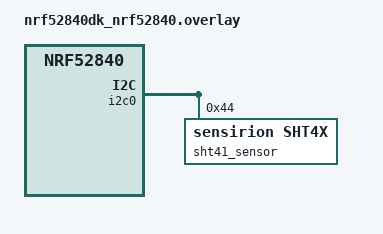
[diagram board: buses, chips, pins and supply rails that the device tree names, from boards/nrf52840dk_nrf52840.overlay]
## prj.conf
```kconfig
CONFIG_BT=y
CONFIG_BT_HCI=y
CONFIG_BT_CTLR=y
CONFIG_BT_PERIPHERAL=y
CONFIG_BT_SMP=y
CONFIG_BT_FIXED_PASSKEY=y
CONFIG_BT_DEVICE_NAME="Sensor Server"

# Enable power management
CONFIG_PM=y
CONFIG_PM_DEVICE=y

# Sensor
CONFIG_SENSOR=y
CONFIG_I2C=y
CONFIG_SHT4X=y

CONFIG_EVENTS=y

CONFIG_LOG=y
CONFIG_LOG_DEFAULT_LEVEL=4
CONFIG_RTT_CONSOLE=y
```

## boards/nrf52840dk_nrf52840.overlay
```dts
&i2c0 {
    status = "okay";
    sht41: sht41@44{
        compatible = "sensirion,sht4x";
        status = "okay";
        reg = < 0x44 >;
        repeatability = < 2 >;
        label = "sht41_sensor"; // For compatibility with previous ncs versions
    };
};
```

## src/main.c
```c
/* main.c - Application main entry point */

/*
 * Copyright (c) 2015-2016 Intel Corporation
 *
 * SPDX-License-Identifier: Apache-2.0
 */

#include <zephyr/kernel.h>
#include <zephyr/types.h>
#include <stddef.h>
#include <string.h>
#include <errno.h>

#include <zephyr/bluetooth/bluetooth.h>
#include <zephyr/bluetooth/conn.h>
#include <zephyr/bluetooth/uuid.h>
#include <zephyr/bluetooth/gatt.h>
#include <zephyr/device.h>
#include <zephyr/drivers/sensor.h>
#include <zephyr/logging/log.h>

LOG_MODULE_REGISTER(MAIN);

#define MAIN_SERVICE_UUID					BT_UUID_128_ENCODE(0xedd1a5f3, 0xdbb0, 0x4b29, 0xb449, 0xa4be5161f18e)
#define RX_UUID								BT_UUID_128_ENCODE(0xedd1a5f3, 0xdbb2, 0x4b29, 0xb449, 0xa4be5161f18e)
#define TX_UUID								BT_UUID_128_ENCODE(0xedd1a5f3, 0xdbb3, 0x4b29, 0xb449, 0xa4be5161f18e)

#define MAIN_EVT_TIMER_EXPIRY				0x01
#define MAIN_EVT_BLE_RESP_RECEIVED			0x02
#define MAIN_EVT_BLE_NOTIFICATION_ENABLED	0x04
#define MAIN_EVT_BLE_CONNECTED				0x08
#define MAIN_EVT_BLE_DISCONNECTED			0x10

#define NOTIFY_STATUS_OK					0x00
#define NOTIFY_STATUS_WAIT					0x01
#define NOTIFY_STATUS_ERROR					0xff

#define TIMER_INTERVAL_MINUTES				1

#define BLE_PASSKEY							123456

#define SHT41_NODE							DT_NODELABEL(sht41)

struct sht41_data{
	double temp;
	double rh;
};

static ssize_t rx_chr_written(struct bt_conn *conn, const struct bt_gatt_attr *attr, const void *buf, uint16_t len, uint16_t offset, uint8_t flags);
static ssize_t tx_chr_read_cb(struct bt_conn *conn, const struct bt_gatt_attr *attr, void *buf, uint16_t len, uint16_t offset);
static void tx_chr_ccc_changed(const struct bt_gatt_attr *attr, uint16_t value);

static void connected_cb(struct bt_conn *conn, uint8_t err);
static void disconnected_cb(struct bt_conn *conn, uint8_t reason);
static void security_changed_cb(struct bt_conn *conn, bt_security_t level, enum bt_security_err err);

static void pair_cancel(struct bt_conn *conn);
static void pairing_confirm(struct bt_conn *conn);
static void passkey_display(struct bt_conn *conn, unsigned int passkey);
static void passkey_confirm(struct bt_conn *conn, unsigned int passkey);

static void pairing_complete(struct bt_conn *conn, bool bonded);
static void pairing_failed(struct bt_conn *conn, enum bt_security_err reason);
static void bond_deleted(uint8_t id, const bt_addr_le_t *peer);

static void sensor_timer_expiry_handler(struct k_timer *timer);

static void stop_adv();

// Sensor timer definition
K_TIMER_DEFINE(sensor_timer, sensor_timer_expiry_handler, NULL);

// Events
K_EVENT_DEFINE(main_evts);

const struct bt_uuid_128 main_service_uuid = BT_UUID_INIT_128(MAIN_SERVICE_UUID);
const struct bt_uuid_128 tx_uuid = BT_UUID_INIT_128(TX_UUID);
const struct bt_uuid_128 rx_uuid = BT_UUID_INIT_128(RX_UUID);
struct bt_conn *default_conn = NULL;

struct bt_conn_cb conn_callbacks = {
	.connected = connected_cb,
	.disconnected = disconnected_cb,
	.security_changed = security_changed_cb
};
struct bt_conn_auth_cb conn_auth_callbacks = {
	.cancel = pair_cancel,
	.pairing_confirm = pairing_confirm,
	// .passkey_confirm = passkey_confirm,
	.passkey_display = passkey_display,
};
struct bt_conn_auth_info_cb conn_auth_info_callbacks = {
	.pairing_complete = pairing_complete,
	.pairing_failed = pairing_failed,
	.bond_deleted = bond_deleted
};

bool notifications_enabled = false;
const struct device *sht41 = DEVICE_DT_GET(SHT41_NODE);
struct sht41_data sht41_sensor_data;
unsigned int pair_passkey = 0;

static const struct bt_data adv_data [] = {
	BT_DATA_BYTES(BT_DATA_FLAGS, BT_LE_AD_GENERAL | BT_LE_AD_NO_BREDR),
	BT_DATA_BYTES(BT_DATA_UUID128_ALL, MAIN_SERVICE_UUID)
};

BT_GATT_SERVICE_DEFINE(primary_service, 
	BT_GATT_PRIMARY_SERVICE(BT_UUID_DECLARE_128(MAIN_SERVICE_UUID)),
	BT_GATT_CHARACTERISTIC(BT_UUID_DECLARE_128(RX_UUID), BT_GATT_CHRC_WRITE, BT_GATT_PERM_WRITE, NULL, rx_chr_written, NULL),
	BT_GATT_CHARACTERISTIC(BT_UUID_DECLARE_128(TX_UUID), BT_GATT_CHRC_NOTIFY, BT_GATT_PERM_READ, tx_chr_read_cb, NULL, NULL),
	BT_GATT_CCC(tx_chr_ccc_changed, BT_GATT_PERM_READ | BT_GATT_PERM_WRITE),
);

static ssize_t rx_chr_written(struct bt_conn *conn, const struct bt_gatt_attr *attr, const void *buf, uint16_t len, uint16_t offset, uint8_t flags)
{
	LOG_DBG("Data Received");
	const uint8_t *data = (char *) buf;
	if(data[0] == 0x00){
		LOG_INF("Response received");
		k_event_set(&main_evts, MAIN_EVT_BLE_RESP_RECEIVED);
		k_timer_start(&sensor_timer, K_MINUTES(TIMER_INTERVAL_MINUTES), K_MINUTES(TIMER_INTERVAL_MINUTES));
	}
	else if(data[0] == 0x01){
		// retry
		LOG_DBG("Retry");
		k_timer_start(&sensor_timer, K_SECONDS(1), K_MINUTES(TIMER_INTERVAL_MINUTES));
	}
	else{
		LOG_DBG("Unexpected response %d", data[0]);
	}

	return len;
}

static ssize_t tx_chr_read_cb(struct bt_conn *conn, const struct bt_gatt_attr *attr, void *buf, uint16_t len, uint16_t offset)
{
	LOG_DBG("TX read");
	return 0;
}

static void tx_chr_ccc_changed(const struct bt_gatt_attr *attr, uint16_t value)
{
	if(value){
		notifications_enabled = true;
		k_event_set(&main_evts, MAIN_EVT_BLE_NOTIFICATION_ENABLED);
		LOG_INF("TX notifications enabled");
	}
	else{
		notifications_enabled = false;
		LOG_WRN("TX notifications disabled");
	}
}

static void connected_cb(struct bt_conn *conn, uint8_t err)
{
	LOG_INF("Device connected, %d", err);
	default_conn = bt_conn_ref(conn);
	k_event_set(&main_evts, MAIN_EVT_BLE_CONNECTED);
}

static void disconnected_cb(struct bt_conn *conn, uint8_t reason)
{
	LOG_WRN("Device disconnected %d", reason);
	bt_conn_unref(default_conn);
	default_conn = NULL;
	
	if(reason == BT_HCI_ERR_REMOTE_USER_TERM_CONN){
		LOG_DBG("Connection terminated by central");
		stop_adv();
		k_timer_start(&sensor_timer, K_MINUTES(TIMER_INTERVAL_MINUTES), K_NO_WAIT);
	}
	k_event_set(&main_evts, MAIN_EVT_BLE_DISCONNECTED);
}

static void security_changed_cb(struct bt_conn *conn, bt_security_t level, enum bt_security_err err)
{
	if(err){
		LOG_ERR("Updated security error %d", err);
		return;
	}

	LOG_DBG("Security updated to %d", level);
}

static void pair_cancel(struct bt_conn *conn)
{
	// Not used
	LOG_DBG("Cancel pairing");
}

static void pairing_confirm(struct bt_conn *conn)
{
	if(bt_conn_auth_pairing_confirm(conn)){
		LOG_ERR("Confirm pairing error");
		return;
	}

	LOG_DBG("Pairing confirm");
}

static void passkey_display(struct bt_conn *conn, unsigned int passkey)
{
	LOG_DBG("Display passkey %u", passkey);
	pair_passkey = passkey;
}

static void passkey_confirm(struct bt_conn *conn, unsigned int passkey)
{
	int err = 0;
	if(passkey == pair_passkey){
		LOG_DBG("Passkey confirm");
		err = bt_conn_auth_passkey_confirm(conn);
		if(err){
			LOG_ERR("Confirm passkey error %d", err);
		}
	}
	else{
		LOG_ERR("Passkey mismatch %u vs %u", pair_passkey, passkey);
		err = bt_conn_auth_cancel(conn);
		if(err){
			LOG_ERR("Cancel authentication error");
		}
	}
	
}

static void pairing_complete(struct bt_conn *conn, bool bonded)
{
	LOG_INF("Pairing complete");
}

static void pairing_failed(struct bt_conn *conn, enum bt_security_err reason)
{
	LOG_ERR("Pairing fail, reason %d", reason);
}

static void bond_deleted(uint8_t id, const bt_addr_le_t *peer)
{
	LOG_DBG("Bond info deleted!");
}

static void sensor_timer_expiry_handler(struct k_timer *timer)
{
	// set timer expiry event
	LOG_DBG("Timer expiry");
	k_event_set(&main_evts, MAIN_EVT_TIMER_EXPIRY);
}

static int start_adv()
{
	int ret = 0;
	ret = bt_le_adv_start(BT_LE_ADV_CONN_NAME, adv_data, ARRAY_SIZE(adv_data), NULL, 0);
	return ret;
}

static void stop_adv()
{
	int err = 0;
	err = bt_le_adv_stop();
	if(err){
		LOG_ERR("Stop adv error");
		return;
	}
	LOG_DBG("ADV stopped");
}

static void disconnect_central()
{
	int ret = bt_conn_disconnect(default_conn, BT_HCI_ERR_REMOTE_USER_TERM_CONN);
	if(ret){
		LOG_ERR("BLE disconnect error %d", ret);
		return;
	}

	uint32_t event = k_event_wait(&main_evts, MAIN_EVT_BLE_DISCONNECTED, true, K_SECONDS(5));
	if(!event){
		LOG_ERR("Disconnect timeout");
		return;
	}
}

static int send_notification(const void *data, uint8_t len)
{
	return bt_gatt_notify(default_conn, &primary_service.attrs[3], data, len);
}

static bool notify_central(uint8_t status, int16_t temp, int16_t rh)
{
	int err = 0;
	if(status == NOTIFY_STATUS_OK){
		uint8_t data[] = {
			NOTIFY_STATUS_OK,
			(temp >> 8) & 0xff,
			temp & 0xff,
			(rh >> 8) & 0xff,
			rh & 0xff
		};

		err = send_notification(data, sizeof(data));
		if(err){
			LOG_ERR("Notify error");
			return false;
		}
	}
	else if(status == NOTIFY_STATUS_ERROR){
		uint8_t data = NOTIFY_STATUS_ERROR;
		err = send_notification(&data, 1);
		if(err){
			LOG_ERR("Notify error");
			return false;
		}
	}
	else if(status == NOTIFY_STATUS_WAIT){
		uint8_t data = NOTIFY_STATUS_WAIT;
		err = send_notification(&data, 1);
		if(err){
			LOG_ERR("Notify error");
			return false;
		}	
	}

	return true;
}

static int wait_for_notification_enable()
{
	uint32_t evt = 0;
	if(default_conn == NULL){
		LOG_INF("Wait connection");
		evt = k_event_wait(&main_evts, MAIN_EVT_BLE_CONNECTED, true, K_SECONDS(60));
		if(!evt){
			LOG_ERR("Timed out waiting for connection");
			return -ETIMEDOUT;
		}
	}

	if(!notifications_enabled){
		LOG_INF("Wait notifications enable");
		evt = k_event_wait(&main_evts, MAIN_EVT_BLE_NOTIFICATION_ENABLED, true, K_SECONDS(5));
		if(!evt){
			LOG_ERR("Timed out waiting for notification enable");
			disconnect_central();
			return -ETIMEDOUT;
		}
	}

	return 0;
}

static int ble_init()
{
	int ret = 0;

	bt_conn_cb_register(&conn_callbacks);

	ret = bt_conn_auth_cb_register(&conn_auth_callbacks);
	if(ret){
		LOG_ERR("Authentication callbacks register fail");
		return ret;
	}

	ret = bt_conn_auth_info_cb_register(&conn_auth_info_callbacks);
	if(ret){
		LOG_ERR("Authentication info callbacks register fail");
		return ret;
	}
	LOG_DBG("Callbacks registered");

	ret = bt_passkey_set(BLE_PASSKEY);
	if(ret){
		LOG_ERR("Set fixed passkey fail");
		return ret;
	}

	ret = bt_enable(NULL);
	if(ret){
		LOG_ERR("Bluetooth enable error %d", ret);
		return ret;
	}

	ret = start_adv();
	if(ret){
		LOG_ERR("Error starting advertising");
		return ret;
	}

	LOG_INF("BLE advertising started");

	return 0;
}

static int sht41_fetch_data()
{
	int ret = 0;
	struct sensor_value t;
	struct sensor_value rh;
	ret = sensor_sample_fetch(sht41);
	if(ret){
		LOG_DBG("Sample fetch error");
		return ret;
	}

	ret = sensor_channel_get(sht41, SENSOR_CHAN_AMBIENT_TEMP, &t);
	if(ret){
		LOG_ERR("Error getting ambient temperature");
		return ret;
	}

	ret = sensor_channel_get(sht41, SENSOR_CHAN_HUMIDITY, &rh);
	if(ret){
		LOG_ERR("Error getting relative humidity");
		return ret;
	}

	sht41_sensor_data.temp = sensor_value_to_double(&t);
	sht41_sensor_data.rh = sensor_value_to_double(&rh);

	return 0;
}

static int sht41_init()
{
	if(!device_is_ready(sht41)){
		LOG_ERR("%s device not ready", sht41->name);
		return -ENODEV;
	}

	return 0;
}

void main(void)
{
	int res = 0;
	uint32_t event;
	if(ble_init()){
		return;
	}

	while(1){
		event = k_event_wait(&main_evts, MAIN_EVT_TIMER_EXPIRY, true, K_FOREVER);
		if(!(event & MAIN_EVT_TIMER_EXPIRY)){
			LOG_WRN("Unexpected event %d", event);
			continue;
		}

		res = start_adv();
		if(res){
			LOG_ERR("ADV start error %d", res);
			continue;
		}

		res = wait_for_notification_enable();
		if(res){
			stop_adv();
			continue;
		}

		res = sht41_init();
		if(res){
			LOG_ERR("sensor not available");
			// notify_central(NOTIFY_STATUS_ERROR, 0, 0);
			k_timer_start(&sensor_timer, K_MINUTES(TIMER_INTERVAL_MINUTES), K_NO_WAIT);
			continue;
		}

		res = sht41_fetch_data();
		if(res){
			LOG_ERR("Error %d fetching sensor data", res);
			// restart timer with shorter duration
			// notify_central(NOTIFY_STATUS_WAIT, 0, 0);
			k_timer_start(&sensor_timer, K_MINUTES(TIMER_INTERVAL_MINUTES), K_NO_WAIT);
			continue;
		}

		if(!notify_central(NOTIFY_STATUS_OK, (sht41_sensor_data.temp * 100), (sht41_sensor_data.rh * 100))){
			k_timer_start(&sensor_timer, K_MINUTES(TIMER_INTERVAL_MINUTES), K_NO_WAIT);				
			continue;
		}

		event = k_event_wait(&main_evts, MAIN_EVT_BLE_RESP_RECEIVED, true, K_SECONDS(5));
		if(!(event & MAIN_EVT_BLE_RESP_RECEIVED)){
			LOG_WRN("BLE wait resp timeout");
			k_timer_start(&sensor_timer, K_MINUTES(TIMER_INTERVAL_MINUTES), K_NO_WAIT);		
			continue;
		}
		disconnect_central();
		stop_adv();
		// reset timer
		k_timer_start(&sensor_timer, K_MINUTES(TIMER_INTERVAL_MINUTES), K_NO_WAIT);		
	}
}
```
